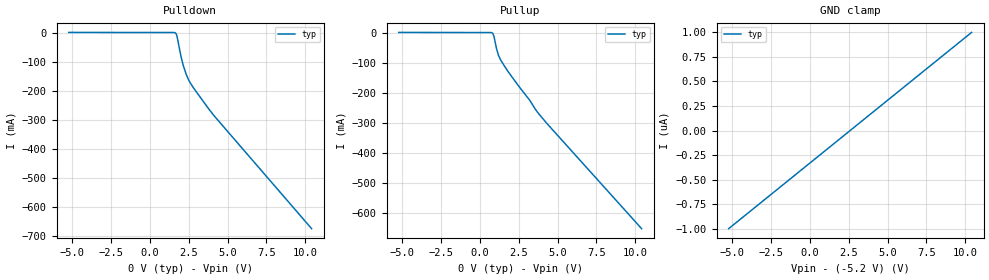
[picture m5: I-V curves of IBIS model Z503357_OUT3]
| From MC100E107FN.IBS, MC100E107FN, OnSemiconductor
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| (C) COPYRIGHT 1993-2000
| MENTOR GRAPHICS CORPORATION
| ICX STANDARD LIBRARY, ICX PROJECT MODELING,
| ICX CUSTOM MODELING, ICX VENDOR MODEL
| ALL RIGHTS RESERVED.
| THE FOLLOWING ARE TRADEMARKS OR SERVICE MARKS OF
| MENTOR GRAPHICS CORPORATION:ICX (R), ICX STANDARD
| LIBRARY(R), ICX PROJECT MODELING(R), ICX CUSTOM
| MODELING(R), qualityIBIS(TM), MODELVIEWER(TM),
| AND MODELEDITOR(TM)
| ALL COPIES OF SOFTWARE, INCLUDING BUT NOT LIMITED TO
| ANY MODIFICATIONS, ENHANCEMENTS OR DERIVATIVE WORKS,
| MUST CONTAIN ALL MENTOR GRAPHICS CORPORATION'S
| NOTICES AND LEGENDS, INCLUDING THOSE EMBEDDED IN
| SOFTWARE AND THOSE AFFIXED TO SOFTWARE MEDIUM
| AND CONTAINER, AS RECEIVED FROM MENTOR GRAPHICS
| CORPORATION.
| Model Application Version 1.89 2/18/99.
[Model] Z503357_OUT3
Model_type Output_ECL
Vref=-2.000V
Rref=50.00ohms
Cref=0.000F
Vmeas=-1.320V
C_comp 8.000pF NA NA
| variable typ   min   max
[Voltage Range] -5.200V NA NA
[POWER Clamp Reference] 0.000V NA NA
[Pullup Reference] 0.000V NA NA
[Pulldown Reference] 0.000V NA NA
[GND Clamp Reference] -5.200V NA NA
[GND Clamp]
-5.2V     -1uA       NA         NA
10.4V     1uA        NA         NA
[Pulldown]
-5.2V     435.3uA    NA         NA
1.664V    -1.593mA   NA         NA
1.717V    -6.15mA    NA         NA
1.768V    -15.57mA   NA         NA
2.012V    -82.08mA   NA         NA
2.159V    -113.3mA   NA         NA
2.345V    -143.5mA   NA         NA
2.505V    -162.8mA   NA         NA
2.813V    -189.9mA   NA         NA
4.146V    -286.2mA   NA         NA
10.4V     -673.2mA   NA         NA
[Pullup]
-5.2V     546.3uA    NA         NA
825.2mV   -1.732mA   NA         NA
878.9mV   -6.547mA   NA         NA
931.4mV   -15.71mA   NA         NA
1.069V    -50.08mA   NA         NA
1.202V    -74.81mA   NA         NA
1.328V    -88.96mA   NA         NA
1.822V    -129.4mA   NA         NA
3.218V    -225.3mA   NA         NA
3.784V    -269.5mA   NA         NA
10.4V     -652.1mA   NA         NA
[POWER Clamp]
-5.2V     0A         NA         NA
10.4V     0A         NA         NA
[Ramp]
| variable typ min max
dV/dt_r 476.5m/304.4p NA NA
dV/dt_f 476.5m/363.2p NA NA
R_load = 500.0Ohms
